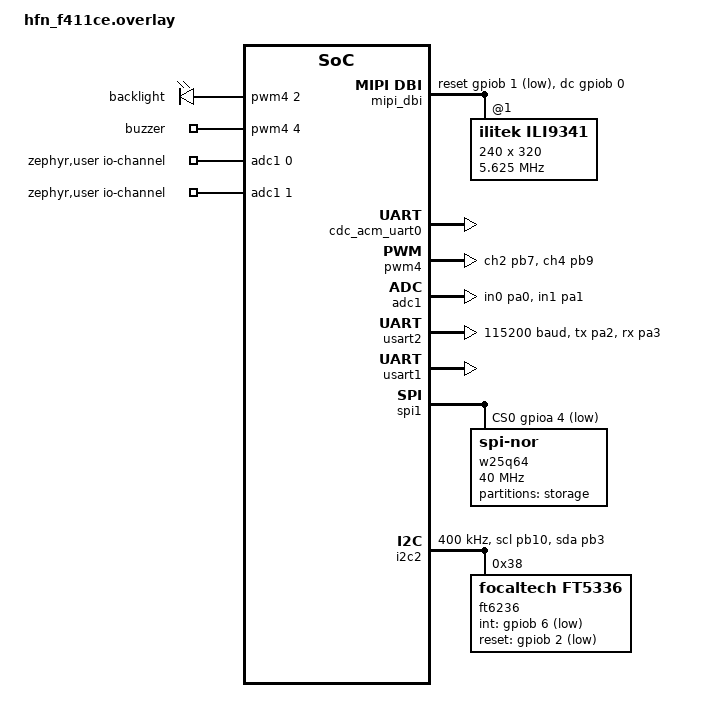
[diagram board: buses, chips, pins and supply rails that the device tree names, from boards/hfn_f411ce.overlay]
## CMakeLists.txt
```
cmake_minimum_required(VERSION 3.20.0)

# Add workspace root so Zephyr finds the custom boards/ directory.
list(APPEND BOARD_ROOT ${CMAKE_CURRENT_LIST_DIR}/..)

find_package(Zephyr REQUIRED HINTS $ENV{ZEPHYR_BASE})
project(ZPHR-STM32-0007)

include(${ZEPHYR_BASE}/samples/subsys/usb/common/common.cmake)

add_subdirectory(../app_native_ui app_native_ui_build)

target_include_directories(app PRIVATE
    ${CMAKE_CURRENT_SOURCE_DIR}/inc
    ${CMAKE_CURRENT_SOURCE_DIR}/src/screen/inc
    ${CMAKE_CURRENT_SOURCE_DIR}/src/fonts
)

target_sources(app PRIVATE
    src/main.c
    src/bsp/bsp.c
    src/setup/setup.c
    src/ui.c
    src/adc_read.c
    src/display_manager.c
    src/screen/src/protimer_model.c
    src/screen/src/clockalarm_model.c
)

target_link_libraries(app PRIVATE lib-native-ui)
```

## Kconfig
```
source "samples/subsys/usb/common/Kconfig.sample_usbd"

menu "Zephyr Kernel"
source "Kconfig.zephyr"
endmenu
```

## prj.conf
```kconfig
# Basic
CONFIG_ARM_MPU=y
CONFIG_FPU=y
CONFIG_GPIO=y
CONFIG_FLASH=y
CONFIG_DMA=y
CONFIG_ADC=y
CONFIG_SPI=y
CONFIG_DISPLAY=y
CONFIG_CRC=y
# MIPI DBI
CONFIG_MIPI_DBI=y
CONFIG_INPUT=y

CONFIG_INPUT_FT5336_INTERRUPT=y

CONFIG_SOC_FLASH_STM32=y
CONFIG_FLASH_EX_OP_ENABLED=y
CONFIG_FLASH_STM32_READOUT_PROTECTION=y

# External SPI NOR Flash (W25Q64F)
CONFIG_SPI_NOR=y
CONFIG_SPI_NOR_SFDP_RUNTIME=y
CONFIG_FLASH_MAP=y
CONFIG_FLASH_PAGE_LAYOUT=y

# File System
CONFIG_FILE_SYSTEM=y
CONFIG_FILE_SYSTEM_SHELL=y
CONFIG_FILE_SYSTEM_LITTLEFS=y

# gzm fs_mgr
CONFIG_GZM_FS_MGR=y

# State Machine Framework
CONFIG_SMF=y
CONFIG_SMF_ANCESTOR_SUPPORT=y
CONFIG_SMF_INITIAL_TRANSITION=y

# Heap
CONFIG_HEAP_MEM_POOL_SIZE=2048

# LVGL Settings
CONFIG_LVGL=y
CONFIG_LV_Z_MEM_POOL_SIZE=32768
CONFIG_LV_Z_VDB_SIZE=10
CONFIG_LV_Z_FLUSH_THREAD=y

CONFIG_MAIN_STACK_SIZE=16384
CONFIG_LV_Z_BITS_PER_PIXEL=16
CONFIG_LV_COLOR_DEPTH_16=y
CONFIG_LV_COLOR_16_SWAP=y
CONFIG_LV_FONT_DEFAULT_MONTSERRAT_24=y
CONFIG_LV_FONT_MONTSERRAT_14=y
CONFIG_LV_FONT_MONTSERRAT_28=y

CONFIG_LV_USE_BAR=y
CONFIG_LV_USE_LABEL=y
CONFIG_LV_USE_BUTTON=y

CONFIG_LV_USE_LOG=n
CONFIG_LV_USE_OBSERVER=y

# XBEE
CONFIG_SERIAL=y
CONFIG_UART_ASYNC_API=y
CONFIG_UART_LINE_CTRL=y

# PWM
CONFIG_PWM=y

# USB CDC ACM NEXT
CONFIG_USB_DEVICE_STACK_NEXT=y
CONFIG_SAMPLE_USBD_MANUFACTURER="HFN"
CONFIG_USBD_CDC_ACM_CLASS=y
CONFIG_SAMPLE_USBD_PID=0x0001
CONFIG_SAMPLE_USBD_PRODUCT="USBD CDC ACM sample"

# Console
CONFIG_CONSOLE=y
CONFIG_UART_CONSOLE=y
CONFIG_BOOT_BANNER=n

# Binary descriptors
CONFIG_BINDESC=y
CONFIG_BINDESC_DEFINE=y
CONFIG_BINDESC_DEFINE_BUILD_TIME=y
CONFIG_BINDESC_BUILD_DATE_TIME_STRING=y
CONFIG_BINDESC_DEFINE_VERSION=y
CONFIG_BINDESC_KERNEL_VERSION_STRING=y
CONFIG_BINDESC_KERNEL_VERSION_MAJOR=y
CONFIG_BINDESC_APP_VERSION_STRING=y

CONFIG_SHELL=y
CONFIG_I2C_SHELL=y

CONFIG_DEBUG=y
CONFIG_LOG=y
CONFIG_LOG_DEFAULT_LEVEL=1
```

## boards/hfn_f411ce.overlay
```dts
#include <zephyr/dt-bindings/adc/adc.h>
#include <zephyr/dt-bindings/input/input-event-codes.h>
#include <zephyr/dt-bindings/pinctrl/stm32-pinctrl-common.h>
#include <zephyr/dt-bindings/mipi_dbi/mipi_dbi.h>
#include <zephyr/dt-bindings/display/ili9xxx.h>

/ {

    chosen {
       zephyr,console = &usart2;
       zephyr,shell-uart = &usart2;
    //    zephyr,display = &st7789v;
       zephyr,display = &ili9341;
    //    zephyr,touch = &ft6236;
       zephyr,flash = &flash0;
    };

    // buttons: buttons {
    //     compatible = "gpio-keys";
    //     debounce-interval-ms = <100>;
    //     polling-mode;
        
    //     button_function: button_function {
    //         gpios = <&gpiob 6 GPIO_ACTIVE_LOW>;
    //         zephyr,code = <INPUT_KEY_DOWN>;
    //     };

    //     button_backlight: button_backlight {
    //         gpios = <&gpiob 5 GPIO_ACTIVE_LOW>;
    //         zephyr,code = <INPUT_KEY_UP>;
    //     };

    //     button_tare: button_tare {
    //         gpios = <&gpiob 3 GPIO_ACTIVE_LOW>;
    //         zephyr,code = <INPUT_KEY_LEFT>;
    //     };

    //     button_onoff: button_onoff {
    //         gpios = <&gpiob 8 GPIO_ACTIVE_LOW>;
    //         zephyr,code = <INPUT_KEY_ENTER>;
    //     };

    //     button_grossnet: button_grossnet {
    //         gpios = <&gpiob 4 GPIO_ACTIVE_LOW>;
    //         zephyr,code = <INPUT_KEY_RIGHT>;
    //     };
    // };

    // longpress: longpress {
	// 	input = <&buttons>;
	// 	compatible = "zephyr,input-longpress";
	// 	input-codes = <INPUT_KEY_LEFT>, <INPUT_KEY_RIGHT>;
	// 	long-codes = <INPUT_KEY_R>, <INPUT_KEY_RIGHTSHIFT>;
	// 	long-delay-ms = <1500>;
	// };

    pwmleds: pwmleds {
        compatible = "pwm-leds";
        status = "okay";

        backlight: backlight {
            pwms = <&pwm4 2 200000 PWM_POLARITY_NORMAL>;  // 5kHz = 200µs = 200000ns
        };

        buzzer: buzzer {
            pwms = <&pwm4 4 250000 PWM_POLARITY_NORMAL>;  // 4kHz = 250µs = 250000ns
        };
    };

    aliases {
        pwm-led0 = &backlight;
        pwm-led1 = &buzzer;
    };

    zephyr,user {
        io-channels = <&adc1 0>, <&adc1 1>;
    };

    gpio_keys {
        status = "disabled";
    };

    mipi_dbi {
        compatible = "zephyr,mipi-dbi-spi";
        status = "okay";
        dc-gpios = <&gpiob 0 GPIO_ACTIVE_HIGH>;
        reset-gpios = <&gpiob 1 GPIO_ACTIVE_LOW>;
        spi-dev = <&spi1>;
        write-only;
        #address-cells = <1>;
        #size-cells = <0>;

        ili9341: ili9341@1 {
			compatible = "ilitek,ili9341";
			mipi-max-frequency = <5625000>;
			mipi-mode = "MIPI_DBI_MODE_SPI_4WIRE";
			reg = <1>;
			width = <240>;
			height = <320>;
			rotation = <90>;
			pixel-format = <ILI9XXX_PIXEL_FORMAT_RGB565>;
			frmctr1 = [00 1b]; /* 60Hz frame rate */
            display-inversion;
		};
    };

    lvgl_pointer {
		compatible = "zephyr,lvgl-pointer-input";
        input = <&ft6236>;
		swap-xy;
	};
};

&zephyr_udc0 {
    cdc_acm_uart0: cdc_acm_uart0 {
        compatible = "zephyr,cdc-acm-uart";
    };
};

&pwm4 {
    status = "okay";
    pinctrl-0 = <&tim4_ch2_pb7 &tim4_ch4_pb9>;
};

&adc1 {
    pinctrl-0 = <&adc1_in0_pa0 &adc1_in1_pa1>;
    pinctrl-names = "default";
    status = "okay";
};

&adc1_in0_pa0 {
    pinmux = <STM32_PINMUX('A', 0, ANALOG)>;
};

&adc1_in1_pa1 {
    pinmux = <STM32_PINMUX('A', 1, ANALOG)>;
};

&dma2 {
    status = "okay";
};

&usart2 {
    pinctrl-0 = <&usart2_tx_pa2 &usart2_rx_pa3>;
    pinctrl-names = "default";
    status = "okay";
    current-speed = <115200>;
};

&usart1 {
    dmas = <&dma2 7 4 0x28440 0x03>,
           <&dma2 2 4 0x28480 0x03>;
    dma-names = "tx", "rx";
    status = "okay";
};

&spi1 {
    status = "okay";
    cs-gpios = <&gpioa 4 GPIO_ACTIVE_LOW>,    /* CS0: W25Q64 */
               <&gpioa 15 GPIO_ACTIVE_LOW>;   /* CS1: ILI9341 */

    w25q64: w25q64@0 {
        compatible = "jedec,spi-nor";
        reg = <0>;
        spi-max-frequency = <40000000>;
        jedec-id = [ef 40 17];
        size = <DT_SIZE_M(64)>;

        partitions {
            compatible = "fixed-partitions";
            #address-cells = <1>;
            #size-cells = <1>;

            storage_partition: partition@0 {
                label = "storage";
                reg = <0x00000000 DT_SIZE_M(8)>;
            };
        };
    };
};

&flash0 {
    partitions {
        compatible = "fixed-partitions";
        #address-cells = <1>;
        #size-cells = <1>;

        slot0_partition: partition@0 {
            label = "image-0";
            reg = <0x00000000 DT_SIZE_K(512)>;
        };
    };
};

&i2c2 {
    pinctrl-0 = <&i2c2_scl_pb10 &i2c2_sda_pb3>;
	pinctrl-names = "default";
	clock-frequency = <I2C_BITRATE_FAST>;
	status = "okay";

	ft6236: ft6236@38 {
		compatible = "focaltech,ft5336";
		status = "okay";
		reg = <0x38>;
		int-gpios = <&gpiob 6 GPIO_ACTIVE_LOW>;
        reset-gpios = <&gpiob 2 GPIO_ACTIVE_LOW>;
	};
};
```

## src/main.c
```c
/*
 * Copyright (c) 2026 GZM Embarcados
 */

/**
 * @file main.c
 * @brief Application entry point.
 */

#include "setup/setup.h"

int main(void)
{
	setup_init();
	return 0;
}
```

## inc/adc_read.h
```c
/*
 * Copyright (c) 2026 GZM Embarcados
 */

/**
 * @file adc_read.h
 * @brief Battery voltage ADC reading with exponential filtering and SoC conversion.
 */

#ifndef APP_ADC_READ_H
#define APP_ADC_READ_H

#ifdef __cplusplus
extern "C" {
#endif

/**
 * @brief Initialize ADC channels for battery voltage measurement.
 */
void adc_read_init(void);

/**
 * @brief Read backup battery state of charge.
 *
 * @return SoC percentage (0.0 – 100.0), or 0.0 on read error.
 */
double adc_read_val_percent_bbat(void);

/**
 * @brief Read pillow battery state of charge.
 *
 * @return SoC percentage (0.0 – 100.0), or 0.0 on read error.
 */
double adc_read_val_percent_pilbat(void);

#ifdef __cplusplus
}
#endif

#endif /* APP_ADC_READ_H */
```

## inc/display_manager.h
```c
/*
 * Copyright (c) 2026 GZM Embarcados
 */

/**
 * @file display_manager.h
 * @brief Display initialization, update and backlight control.
 */

#ifndef APP_DISPLAY_MANAGER_H
#define APP_DISPLAY_MANAGER_H

#ifdef __cplusplus
extern "C" {
#endif

#include <stdint.h>

#define DISPLAY_MAX_BACKLIGHT_LEVEL 5

/**
 * @brief Initialize LVGL and turn on the display with default backlight.
 */
void display_init_screens(void);

/**
 * @brief Drive LVGL timer handler — call once per main loop tick.
 */
void display_update(void);

/**
 * @brief Map a raw input key code to an LVGL key.
 *
 * @param btn Raw input key code.
 * @return 0 on success, -EINVAL for unmapped keys.
 */
int display_map_button_cb(int btn);

/**
 * @brief Set backlight brightness.
 *
 * @param brightness Level from 0 to DISPLAY_MAX_BACKLIGHT_LEVEL.
 * @return 0 on success, -EINVAL if brightness is out of range.
 */
int display_set_backlight(uint8_t brightness);

/**
 * @brief Cycle backlight to the next brightness level.
 */
void display_inc_backlight_level(void);

#ifdef __cplusplus
}
#endif

#endif /* APP_DISPLAY_MANAGER_H */
```

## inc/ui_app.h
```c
/*
 * Copyright (c) 2026 GZM Embarcados
 */

/**
 * @file ui_app.h
 * @brief App-side UI initialization — wires models to the native UI library.
 */

#ifndef APP_UI_APP_H
#define APP_UI_APP_H

#ifdef __cplusplus
extern "C" {
#endif

/**
 * @brief Initialize the UI library and register app-side provider adapters.
 *        Must be called after display_init_screens().
 */
void ui_app_init(void);

#ifdef __cplusplus
}
#endif

#endif /* APP_UI_APP_H */
```

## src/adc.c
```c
#include <zephyr/kernel.h>
#include <zephyr/drivers/adc.h>
#include <zephyr/device.h>
#include <zephyr/sys/printk.h>
#include <string.h>

#define ADC_RESOLUTION       12  // Resolução do ADC (12 bits)
#define ADC_GAIN             ADC_GAIN_1
#define ADC_REFERENCE        ADC_REF_EXTERNAL0
#define ADC_ACQUISITION_TIME ADC_ACQ_TIME(ADC_ACQ_TIME_MICROSECONDS, 10)

#define ADC_MAX_VALUE         (4095)
#define ADC_VREF              (3.300)
#define ADC_RES_LIPO          (1.616187928)// divisao resistiva e drift(empirico) no canal 0
#define ADC_ALPHA_FILTER_COEF (0.1)
#define ADC_SAMPLES_COUNT     10

struct adc_measure_filter
{
    bool init;
    double voltage;
};

static float adc_voltage_to_soc_lipo(float voltage);
static float adc_voltage_to_soc_pil(float voltage);

// Buffer para armazenar o valor lido do ADC
static uint16_t adc_buffer[1];

// Configuração para o ADC (canal PA0 = ADC1_IN0 e PA1 = ADC1_IN1)
static struct adc_channel_cfg adc_channel_vad_bat = {
    .gain = ADC_GAIN,
    .reference = ADC_REFERENCE,
    .acquisition_time = ADC_ACQUISITION_TIME,
    .channel_id = 0,  // Canal 0 corresponde a PA0 (VAD_BAT)
    .differential = 0,
};

static struct adc_channel_cfg adc_channel_vpil = {
    .gain = ADC_GAIN,
    .reference = ADC_REFERENCE,
    .acquisition_time = ADC_ACQUISITION_TIME,
    .channel_id = 1,  // Canal 1 corresponde a PA1 (Vpil)
    .differential = 0,
};

static struct adc_sequence sequence = {
    .buffer = adc_buffer,
    .buffer_size = sizeof(adc_buffer),
    .resolution = ADC_RESOLUTION,
};

static struct adc_measure_filter g_bbat = {0};
static struct adc_measure_filter g_pilbat = {0};
static const double R1 = 330000.0; // em ohms
static const double R2 = 1000000.0; // em ohms
static double voltage_divider_factor =  (R1 + R2) / R2;
static const struct device *adc_dev = DEVICE_DT_GET(DT_NODELABEL(adc1));  // Obtém o dispositivo ADC1

/*
Tensão (V)	Estado de Carga (SoC)
4,20	100%
4,00	85%
3,85	75%
3,70	50%
3,50	25%
3,20	10%
3,00	0% (descarregada)

   Vin
    |
    |
    R1 = 330k
    |
    |---> Vout
    |
    R2 = 1M
    |
    |
   GND

vin	vout
3	2,25563909774436
3,1	2,33082706766917
3,2	2,40601503759398
3,3	2,4812030075188
3,4	2,55639097744361
3,5	2,63157894736842
3,6	2,70676691729323
3,7	2,78195488721804
3,8	2,85714285714286
3,9	2,93233082706767
4	3,00751879699248
4,1	3,08270676691729
4,2	3,15789473684211
*/

// Função para calcular SoC com base na tensão
static float adc_voltage_to_soc_lipo(float voltage) {
    // Tabela de tensões (V) e SoC correspondentes
    const float voltages[] = {3.0, 3.2, 3.5, 3.7, 3.85, 4.0, 4.2};
    const float socs[] = {0.0, 10.0, 25.0, 50.0, 75.0, 85.0, 100.0};
    const int size = sizeof(voltages) / sizeof(voltages[0]);

    // Verifica se a tensão está fora dos limites
    if (voltage <= voltages[0]) return socs[0]; // Descarregada
    if (voltage >= voltages[size - 1]) return socs[size - 1]; // Totalmente carregada

    // Interpolação linear para os valores intermediários
    for (int i = 0; i < size - 1; i++) {
        if (voltage >= voltages[i] && voltage <= voltages[i + 1]) {
            // Interpolação linear
            float soc = socs[i] + (voltage - voltages[i]) *
                        (socs[i + 1] - socs[i]) / (voltages[i + 1] - voltages[i]);
            return soc;
        }
    }

    // Caso inesperado (não deveria acontecer)
    return 0.0;
}

// Função para calcular o SoC com base na tensão da bateria moeda
static float adc_voltage_to_soc_pil(float voltage) {
    // Tabela de tensões (V) e SoC correspondentes
    const float voltages[] = {2.0, 2.2, 2.4, 2.6, 2.8, 3.0, 3.2};
    const float socs[] = {0.0, 10.0, 25.0, 50.0, 75.0, 90.0, 100.0};
    const int size = sizeof(voltages) / sizeof(voltages[0]);

    // Verifica se a tensão está fora dos limites
    if (voltage <= voltages[0]) return socs[0]; // Descarregada
    if (voltage >= voltages[size - 1]) return socs[size - 1]; // Totalmente carregada

    // Interpolação linear para os valores intermediários
    for (int i = 0; i < size - 1; i++) {
        if (voltage >= voltages[i] && voltage <= voltages[i + 1]) {
            // Interpolação linear
            float soc = socs[i] + (voltage - voltages[i]) *
                        (socs[i + 1] - socs[i]) / (voltages[i + 1] - voltages[i]);
            return soc;
        }
    }

    // Caso inesperado (não deveria acontecer)
    return 0.0;
}

static int adc_read_channel_average(uint8_t channel_id, uint32_t *adc_value) {
    int ret = -EINVAL;
    int count_reads = 0;
    uint32_t sum = 0;

    sequence.channels = BIT(channel_id);

    for (int i = 0; i < ADC_SAMPLES_COUNT; i++) {
        ret = adc_read(adc_dev, &sequence);
        if (!ret == 0) {
            return ret;
        }
        
        sum += adc_buffer[0];
        count_reads++;

        k_msleep(5);
    }

    *adc_value = (sum / count_reads);
    return 0;
}

void adc_init(void) {

    if (!device_is_ready(adc_dev)) {
        printk("ADC device not ready\n");
        return;
    }

    memset(&g_bbat, 0, sizeof(struct adc_measure_filter));
    memset(&g_pilbat, 0, sizeof(struct adc_measure_filter));

    // Configura os canais do ADC
    adc_channel_setup(adc_dev, &adc_channel_vad_bat);
    adc_channel_setup(adc_dev, &adc_channel_vpil);
}

double adc_read_val_percent_bbat(void) {
    int ret;
    uint32_t adc_value;
    double val_volt = 0;
    double val_percent = 0;

    ret = adc_read_channel_average(0, &adc_value);
    if(ret)
    {
        printk("Failed to read BBAT\n");
        return 0;
    }

    val_volt = (((double)adc_value) / ADC_MAX_VALUE) * ADC_VREF * voltage_divider_factor;
    if(!g_bbat.init)
    {
        g_bbat.init = true;
        g_bbat.voltage = val_volt;
    } 
    else
    {
        g_bbat.voltage = ADC_ALPHA_FILTER_COEF * val_volt + (1.0 - ADC_ALPHA_FILTER_COEF) * g_bbat.voltage;
    }

    val_percent = adc_voltage_to_soc_lipo(g_bbat.voltage);
    // printk("BBat:  %d(buffer), %.2f V, %.2f %% \r\n", adc_value, val_volt, val_percent);

    return val_percent;
}


double adc_read_val_percent_pilbat(void) {
    int ret;
    uint32_t adc_value;
    double val_volt = 0;
    double val_percent = 0;

    ret = adc_read_channel_average(1, &adc_value);
    if(ret)
    {
        printk("Failed to read PilBAT\n");
        return 0;
    }

    val_volt = (((double)adc_value) / ADC_MAX_VALUE) * ADC_VREF;

    if(!g_pilbat.init)
    {
        g_pilbat.init = true;
        g_pilbat.voltage = val_volt;
    } 
    else
    {
        g_pilbat.voltage = ADC_ALPHA_FILTER_COEF * val_volt + (1.0 - ADC_ALPHA_FILTER_COEF) * g_pilbat.voltage;
    }

    val_percent = adc_voltage_to_soc_pil(g_pilbat.voltage);
    // printk("PilBat: %d(buffer), %.2f V, %.2f %% \r\n", adc_value, val_volt, val_percent);

    return val_percent;
}
```

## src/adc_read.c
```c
/*
 * Copyright (c) 2026 GZM Embarcados
 */

/**
 * @file adc_read.c
 * @brief Battery voltage ADC reading with exponential filtering and SoC conversion.
 */

#include "adc_read.h"

#include <string.h>

#include <zephyr/drivers/adc.h>
#include <zephyr/kernel.h>

#include "bsp/bsp.h"

#include <zephyr/logging/log.h>
LOG_MODULE_REGISTER(adc_read, CONFIG_LOG_DEFAULT_LEVEL);

#define ADC_RESOLUTION       12
#define ADC_GAIN             ADC_GAIN_1
#define ADC_REFERENCE        ADC_REF_INTERNAL
#define ADC_ACQUISITION_TIME ADC_ACQ_TIME_DEFAULT

#define ADC_MAX_VALUE         (4095)
#define ADC_VREF              (3.300)
#define ADC_ALPHA_FILTER_COEF (0.1)
#define ADC_SAMPLES_COUNT     10

/* Voltage divider: R1=330kΩ, R2=1MΩ on the BBAT channel. */
#define ADC_R1 330000.0
#define ADC_R2 1000000.0

struct adc_measure_filter {
	bool   init;
	double voltage;
};

/* Forward declarations of static helpers. */
static float adc_voltage_to_soc_lipo(float voltage);
static float adc_voltage_to_soc_pil(float voltage);
static int   adc_read_channel_average(uint8_t channel_id, uint32_t *adc_value);

static uint16_t adc_buffer[1];

static struct adc_channel_cfg adc_channel_vad_bat = {
	.gain             = ADC_GAIN,
	.reference        = ADC_REFERENCE,
	.acquisition_time = ADC_ACQUISITION_TIME,
	.channel_id       = 0,
	.differential     = 0,
};

static struct adc_channel_cfg adc_channel_vpil = {
	.gain             = ADC_GAIN,
	.reference        = ADC_REFERENCE,
	.acquisition_time = ADC_ACQUISITION_TIME,
	.channel_id       = 1,
	.differential     = 0,
};

static struct adc_sequence sequence = {
	.buffer      = adc_buffer,
	.buffer_size = sizeof(adc_buffer),
	.resolution  = ADC_RESOLUTION,
};

static struct adc_measure_filter g_bbat;
static struct adc_measure_filter g_pilbat;

static const double voltage_divider_factor = (ADC_R1 + ADC_R2) / ADC_R2;

static float adc_voltage_to_soc_lipo(float voltage)
{
	const float voltages[] = {3.0f, 3.2f, 3.5f, 3.7f, 3.85f, 4.0f, 4.2f};
	const float socs[]     = {0.0f, 10.0f, 25.0f, 50.0f, 75.0f, 85.0f, 100.0f};
	const int   size       = sizeof(voltages) / sizeof(voltages[0]);
	float       soc        = 0.0f;

	if (voltage <= voltages[0]) {
		return socs[0];
	}
	if (voltage >= voltages[size - 1]) {
		return socs[size - 1];
	}

	for (int i = 0; i < size - 1; i++) {
		if (voltage >= voltages[i] && voltage <= voltages[i + 1]) {
			soc = socs[i] + (voltage - voltages[i]) *
				(socs[i + 1] - socs[i]) / (voltages[i + 1] - voltages[i]);
			return soc;
		}
	}

	return 0.0f;
}

static float adc_voltage_to_soc_pil(float voltage)
{
	const float voltages[] = {2.0f, 2.2f, 2.4f, 2.6f, 2.8f, 3.0f, 3.2f};
	const float socs[]     = {0.0f, 10.0f, 25.0f, 50.0f, 75.0f, 90.0f, 100.0f};
	const int   size       = sizeof(voltages) / sizeof(voltages[0]);
	float       soc        = 0.0f;

	if (voltage <= voltages[0]) {
		return socs[0];
	}
	if (voltage >= voltages[size - 1]) {
		return socs[size - 1];
	}

	for (int i = 0; i < size - 1; i++) {
		if (voltage >= voltages[i] && voltage <= voltages[i + 1]) {
			soc = socs[i] + (voltage - voltages[i]) *
				(socs[i + 1] - socs[i]) / (voltages[i + 1] - voltages[i]);
			return soc;
		}
	}

	return 0.0f;
}

static int adc_read_channel_average(uint8_t channel_id, uint32_t *adc_value)
{
	int      ret         = 0;
	int      count_reads = 0;
	uint32_t sum         = 0;

	sequence.channels = BIT(channel_id);

	for (int i = 0; i < ADC_SAMPLES_COUNT; i++) {
		ret = adc_read(bsp_get_adc(), &sequence);
		if (ret != 0) {
			return ret;
		}

		sum += adc_buffer[0];
		count_reads++;

		k_msleep(5);
	}

	*adc_value = (sum / count_reads);
	return 0;
}

void adc_read_init(void)
{
	memset(&g_bbat, 0, sizeof(struct adc_measure_filter));
	memset(&g_pilbat, 0, sizeof(struct adc_measure_filter));

	adc_channel_setup(bsp_get_adc(), &adc_channel_vad_bat);
	adc_channel_setup(bsp_get_adc(), &adc_channel_vpil);
}

double adc_read_val_percent_bbat(void)
{
	int      ret       = 0;
	uint32_t adc_value = 0;
	double   val_volt  = 0.0;

	ret = adc_read_channel_average(0, &adc_value);
	if (ret) {
		LOG_ERR("failed to read BBAT: %d", ret);
		return 0.0;
	}

	val_volt = (((double)adc_value) / ADC_MAX_VALUE) * ADC_VREF * voltage_divider_factor;

	if (!g_bbat.init) {
		g_bbat.init    = true;
		g_bbat.voltage = val_volt;
	} else {
		g_bbat.voltage = ADC_ALPHA_FILTER_COEF * val_volt +
				 (1.0 - ADC_ALPHA_FILTER_COEF) * g_bbat.voltage;
	}

	return adc_voltage_to_soc_lipo(g_bbat.voltage);
}

double adc_read_val_percent_pilbat(void)
{
	int      ret       = 0;
	uint32_t adc_value = 0;
	double   val_volt  = 0.0;

	ret = adc_read_channel_average(1, &adc_value);
	if (ret) {
		LOG_ERR("failed to read PilBAT: %d", ret);
		return 0.0;
	}

	val_volt = (((double)adc_value) / ADC_MAX_VALUE) * ADC_VREF;

	if (!g_pilbat.init) {
		g_pilbat.init    = true;
		g_pilbat.voltage = val_volt;
	} else {
		g_pilbat.voltage = ADC_ALPHA_FILTER_COEF * val_volt +
				   (1.0 - ADC_ALPHA_FILTER_COEF) * g_pilbat.voltage;
	}

	return adc_voltage_to_soc_pil(g_pilbat.voltage);
}
```

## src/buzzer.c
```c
#include <zephyr/kernel.h>
#include <zephyr/device.h>
#include <zephyr/drivers/pwm.h>
#include <zephyr/sys/printk.h>
#include "buzzer.h"

#define STACKSIZE 2048
#define PRIORITY 7
#define BUZZER DT_ALIAS(pwm_led1)

struct buzzer_work_data {
    struct k_work work;
    enum buzzer_type type;
};

static struct buzzer_work_data buzzer_work;
static const struct pwm_dt_spec pwm_buzzer = PWM_DT_SPEC_GET(BUZZER);

static void buzzer_work_handler(struct k_work *work)
{
    struct buzzer_work_data *work_data = CONTAINER_OF(work, struct buzzer_work_data, work);
    int ret = -EINVAL;

    switch (work_data->type)
    {
    case BUZZER_OFF:
        ret = pwm_set_pulse_dt(&pwm_buzzer, 0);
        break;

    case BUZZER_SOUND_1:
        ret = pwm_set_pulse_dt(&pwm_buzzer, (pwm_buzzer.period) / 2);
        k_msleep(100);
        ret |= pwm_set_pulse_dt(&pwm_buzzer, 0);
        break;

    default:
        ret = -EINVAL;
        break;
    }

    if (ret != 0) {
        printk("Buzzer PWM error: %d\n", ret);
    }
}

int buzzer_init(void)
{
    int ret;

    ret = device_is_ready(pwm_buzzer.dev);
    if (!ret)
    {
        printk("Error: PWM device %s is not ready\n", pwm_buzzer.dev->name);
        return -ENODEV;
    }

    k_work_init(&buzzer_work.work, buzzer_work_handler);

    ret = buzzer_play_sound(BUZZER_OFF);
    return ret;
}

int buzzer_play_sound(enum buzzer_type type)
{
    buzzer_work.type = type;
    return k_work_submit(&buzzer_work.work);
}
```

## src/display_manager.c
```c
/*
 * Copyright (c) 2026 GZM Embarcados
 */

/**
 * @file display_manager.c
 * @brief Display initialization, update and backlight control.
 */

#include "display_manager.h"

#include <zephyr/drivers/display.h>
#include <zephyr/drivers/pwm.h>
#include <zephyr/dt-bindings/input/input-event-codes.h>
#include <zephyr/kernel.h>
#include <lvgl.h>

#include "bsp/bsp.h"

#include <zephyr/logging/log.h>
LOG_MODULE_REGISTER(display_mgr, CONFIG_LOG_DEFAULT_LEVEL);

static uint8_t g_backlight_scale = 4;

void display_init_screens(void)
{
	int ret;

	lv_init();

	ret = display_blanking_off(bsp_get_display());
	if (ret) {
		LOG_ERR("display_blanking_off: %d", ret);
	}

	ret = display_set_backlight(5);
	if (ret) {
		LOG_ERR("display_set_backlight: %d", ret);
	}

	LOG_INF("LVGL initialized");
}

void display_update(void)
{
	lv_timer_handler();
}

int display_map_button_cb(int btn)
{
	uint32_t key = 0;

	switch (btn) {
	case INPUT_KEY_UP:
		key = LV_KEY_UP;
		break;
	case INPUT_KEY_LEFT:
		key = LV_KEY_LEFT;
		break;
	case INPUT_KEY_RIGHT:
		key = LV_KEY_RIGHT;
		break;
	case INPUT_KEY_DOWN:
		key = LV_KEY_DOWN;
		break;
	case INPUT_KEY_ENTER:
		key = LV_KEY_ENTER;
		break;
	case INPUT_KEY_R:
	default:
		return -EINVAL;
	}

	(void)key;
	return 0;
}

int display_set_backlight(uint8_t brightness)
{
	int ret;
	const struct pwm_dt_spec *pwm = bsp_get_pwm_backlight();

	if (brightness > DISPLAY_MAX_BACKLIGHT_LEVEL) {
		return -EINVAL;
	}

	ret = pwm_set_pulse_dt(pwm, (brightness * pwm->period) / DISPLAY_MAX_BACKLIGHT_LEVEL);
	return ret;
}

void display_inc_backlight_level(void)
{
	display_set_backlight(g_backlight_scale);

	if (++g_backlight_scale > DISPLAY_MAX_BACKLIGHT_LEVEL) {
		g_backlight_scale = 1;
	}
}
```

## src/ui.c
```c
/*
 * Copyright (c) 2026 GZM Embarcados
 */

/**
 * @file ui.c
 * @brief App-side UI wiring — adapts state machine models to the native UI
 *        provider interfaces and initializes the complete UI stack.
 */

#include "ui_app.h"

#include "ui.h"
#include "protimer_provider.h"
#include "clockalarm_provider.h"

#include "protimer_model.h"
#include "clockalarm_model.h"

/* Forward declarations of static helpers. */
static void pt_on_screen_enter(const struct protimer_ui_cbs *cbs);
static void ca_on_screen_enter(const struct clockalarm_ui_cbs *cbs);

static const protimer_provider_ops_t s_pt_ops = {
	.on_screen_enter = pt_on_screen_enter,
	.on_screen_exit  = protimer_model_stop,
	.send_event      = (void (*)(int))protimer_model_send_event,
};

static const clockalarm_provider_ops_t s_ca_ops = {
	.on_screen_enter = ca_on_screen_enter,
	.on_screen_exit  = clockalarm_model_stop,
	.send_event      = (void (*)(int))clockalarm_model_send_event,
};

static void pt_on_screen_enter(const struct protimer_ui_cbs *cbs)
{
	/* protimer_ui_cbs and protimer_model_cb are layout-identical. */
	protimer_model_init((const struct protimer_model_cb *)cbs);
}

static void ca_on_screen_enter(const struct clockalarm_ui_cbs *cbs)
{
	/* clockalarm_ui_cbs and clockalarm_model_cb are layout-identical. */
	clockalarm_model_init((const struct clockalarm_model_cb *)cbs);
}

void ui_app_init(void)
{
	ui_init();
	ui_app_register_providers(&s_pt_ops, &s_ca_ops);
}
```

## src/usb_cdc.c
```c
#include "usb_cdc.h"
#include "display_manager.h"

#include <zephyr/kernel.h>
#include <zephyr/device.h>
#include <zephyr/drivers/uart.h>
#include <zephyr/bindesc.h>
#include <zephyr/usb/usb_device.h>
#include <zephyr/usb/usbd.h>
#include <sample_usbd.h>
#include <math.h>

#define STACKSIZE 2048
#define PRIORITY  7

static int enable_usb_device_next(void);
static void usb_thread(void);

static struct usbd_context *sample_usbd;

static int enable_usb_device_next(void)
{
    int err;

    sample_usbd = sample_usbd_init_device(NULL);
    if (sample_usbd == NULL)
    {
        return -ENODEV;
    }

    err = usbd_enable(sample_usbd);
    if (err)
    {
        return err;
    }

    return 0;
}

static void usb_thread(void)
{
    char msg[200] = {0};
    uint8_t decimal_places = 0;
    double load_local = 0;
    uint32_t dtr = 0U;
    int mac_id = 0;

    k_msleep(2000);

    const struct device *const dev = DEVICE_DT_GET_ONE(zephyr_cdc_acm_uart);

    enable_usb_device_next();

    while (true)
    {
        uart_line_ctrl_get(dev, UART_LINE_CTRL_DTR, &dtr);
        if (dtr)
        {
            break;
        }
        else
        {
            k_msleep(100);
        }
    }

    while (true)
    {
        mac_id++;
        snprintf(msg, sizeof(msg), "%x=%.0f:%d\r\n", mac_id, load_local, decimal_places);
        for (size_t i = 0; i < strlen(msg); i++)
        {
            uart_poll_out(dev, msg[i]);
        }

        k_msleep(5000);
    }
}

#ifndef CONFIG_HFN_ENABLE_TEST_FLASH_MEM
K_THREAD_DEFINE(usblog1_id, STACKSIZE, usb_thread, NULL, NULL, NULL,
               PRIORITY, 0, 0);
#endif
```
